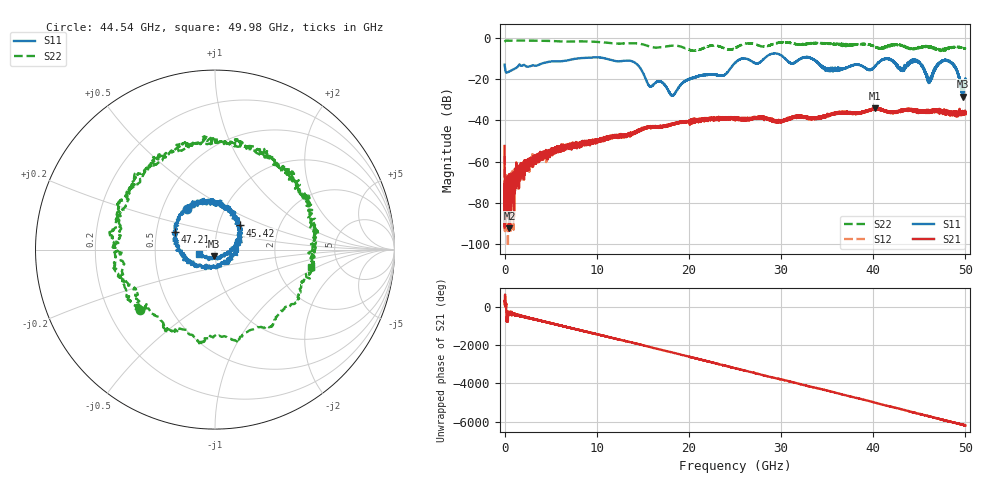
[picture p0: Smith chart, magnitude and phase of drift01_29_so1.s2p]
!Created with skrf (http://scikit-rf.org).
# Hz S RI R 50.0
!freq ReS11 ImS11 ReS21 ImS21 ReS12 ImS12 ReS22 ImS22
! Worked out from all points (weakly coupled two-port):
!   10001 points, 300 kHz to 50 GHz, reference 50 ohm
!   highest |S21| = -34.09 dB at 40.2 GHz (marker M1); lowest = -92.2 dB at 520.3 MHz (marker M2)
!   lowest |S11| = -28.5 dB at 49.72 GHz (marker M3), VSWR 1.08, Z = 49.3 - j3.68 ohm
!   |S11| at or under -10 dB: start of sweep to 8.054 GHz; 10.87 GHz to 26 GHz (15.13 GHz wide, 82.1 % of centre); 41.41 GHz to end of sweep (the widest 3 of 13)
!   |S22| runs from -6.5 to -1.4 dB; largest |S21 - S12| = 0.0042
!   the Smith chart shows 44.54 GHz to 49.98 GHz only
!   S11 on the Smith chart (normalised r, x): 44.54 GHz: 0.67, +0.33; 45.42 GHz: 1.27, +0.36; 47.21 GHz: 0.62, +0.13; 49.98 GHz: 0.84, -0.04
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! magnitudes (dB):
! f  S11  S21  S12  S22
! 300 kHz  -13.1  -52.4  -57.2  -2.1
! 255.3 MHz  -16.9  -85.5  -78.2  -1.4
! 520.3 MHz  -16.3  -92.2  -68.7  -1.5
! 3.08 GHz  -13.4  -58.9  -59.1  -1.4
! 8.335 GHz  -9.9  -50.5  -51.9  -1.8
! 13.78 GHz  -11.3  -46.8  -46.4  -2.7
! 15.73 GHz  -23.5  -43.3  -43.3  -4.2
! 16.67 GHz  -21.1  -43.4  -43.3  -4.8
! 18.24 GHz  -27.8  -42.1  -42.0  -3.9
! 25 GHz  -12.2  -39.3  -39.4  -5.1
! 33.34 GHz  -10.1  -39.2  -39.3  -2.7
! 40.2 GHz  -13.8  -34.1  -34.4  -4.5
! 41.67 GHz  -10.4  -35.6  -36.1  -4.2
! 43.07 GHz  -15.0  -35.3  -35.0  -3.5
! 44.54 GHz  -11.2  -35.8  -35.0  -5.5
! 45.42 GHz  -14.2  -35.9  -35.8  -4.2
! 46.11 GHz  -21.2  -35.1  -36.0  -4.4
! 47.21 GHz  -12.2  -35.1  -35.1  -5.9
! 48.67 GHz  -13.0  -36.4  -37.0  -4.6
! 49.72 GHz  -28.5  -37.2  -36.0  -5.0
! 49.98 GHz  -20.9  -35.9  -36.1  -5.3
! 50 GHz  -20.5  -37.0  -35.9  -5.4
